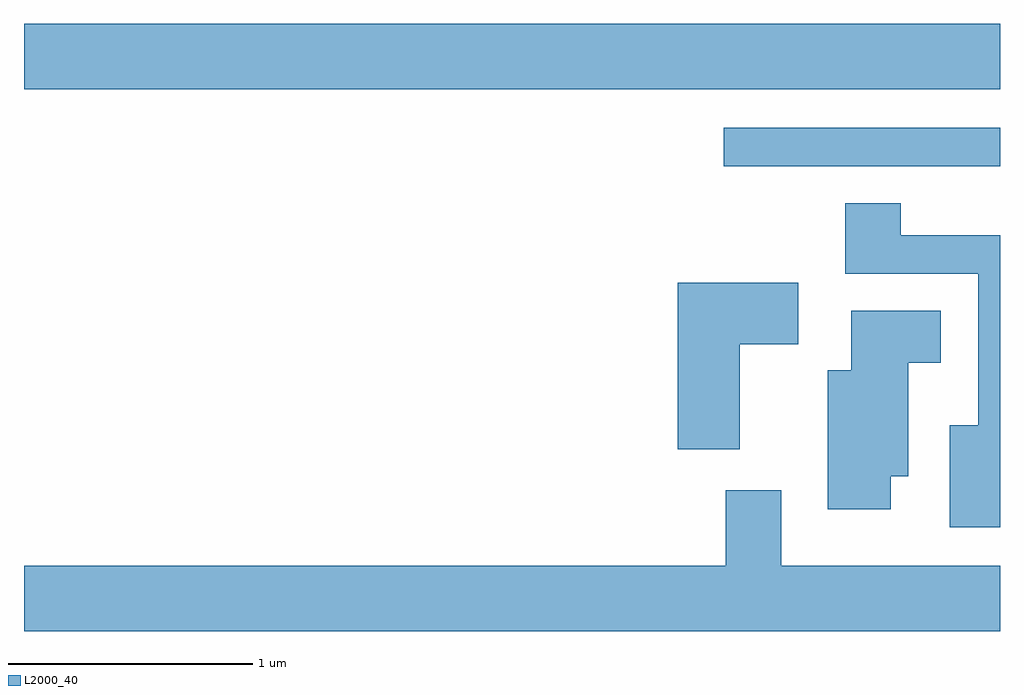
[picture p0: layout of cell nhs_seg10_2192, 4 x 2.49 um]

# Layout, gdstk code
import gdstk
lib = gdstk.Library(unit=1e-6, precision=1e-09)
def R(c, l, rs):  # rectangles x0, y0, x1, y1
    for r in rs: c.add(gdstk.rectangle(r[:2], r[2:], *l))
def P(c, l, *ps):  # polygons
    for p in ps: c.add(gdstk.Polygon(p, *l))
L2000_40 = (2000, 40)

nhs_seg10_2192 = lib.new_cell('nhs_seg10_2192')
R(nhs_seg10_2192, L2000_40, [(252.478,2129.141,253.611,2129.299), (249.611,2129.456,253.611,2129.724)])
P(nhs_seg10_2192, L2000_40, [(253.611,2128.859),(253.204,2128.859),(253.204,2128.989),(252.976,2128.989),(252.976,2128.701),(253.521,2128.701),(253.521,2128.079),(253.406,2128.079),(253.406,2127.661),(253.611,2127.661)],
  [(252.544,2128.411),(252.784,2128.411),(252.784,2128.664),(252.291,2128.664),(252.291,2127.981),(252.544,2127.981)],
  [(253.164,2127.871),(253.234,2127.871),(253.234,2128.336),(253.369,2128.336),(253.369,2128.549),(253.001,2128.549),(253.001,2128.304),(252.906,2128.304),(252.906,2127.736),(253.164,2127.736)],
  [(253.611,2127.504),(252.714,2127.504),(252.714,2127.814),(252.486,2127.814),(252.486,2127.504),(249.611,2127.504),(249.611,2127.236),(253.611,2127.236)])

lib.write_gds('nhs_seg10_2192.gds')
